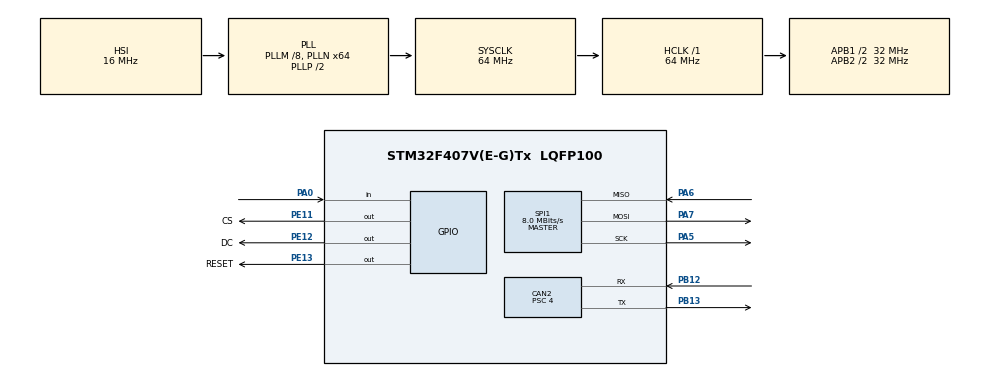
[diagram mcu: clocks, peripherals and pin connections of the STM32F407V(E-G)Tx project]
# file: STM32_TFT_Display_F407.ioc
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CAN2.BS1=CAN_BS1_12TQ
CAN2.BS2=CAN_BS2_3TQ
CAN2.CalculateBaudRate=500000
CAN2.CalculateTimeBit=2000
CAN2.CalculateTimeQuantum=125.0
CAN2.Mode=CAN_MODE_NORMAL
CAN2.Prescaler=4
Dma.Request0=SPI1_TX
Dma.SPI1_TX.0.Direction=DMA_MEMORY_TO_PERIPH
Dma.SPI1_TX.0.FIFOMode=DMA_FIFOMODE_DISABLE
Dma.SPI1_TX.0.Instance=DMA2_Stream3
Dma.SPI1_TX.0.MemDataAlignment=DMA_MDATAALIGN_BYTE
Dma.SPI1_TX.0.MemInc=DMA_MINC_ENABLE
Dma.SPI1_TX.0.Mode=DMA_NORMAL
Dma.SPI1_TX.0.PeriphDataAlignment=DMA_PDATAALIGN_BYTE
Dma.SPI1_TX.0.PeriphInc=DMA_PINC_DISABLE
Dma.SPI1_TX.0.Priority=DMA_PRIORITY_LOW
Mcu.Family=STM32F4
Mcu.Name=STM32F407V(E-G)Tx
Mcu.Package=LQFP100
NVIC.CAN2_RX0_IRQn=true\:0\:0\:false\:false\:true\:true\:true\:true
NVIC.DMA2_Stream3_IRQn=true\:0\:0\:false\:false\:true\:false\:true\:true
NVIC.PriorityGroup=NVIC_PRIORITYGROUP_4
NVIC.SPI1_IRQn=true\:0\:0\:false\:false\:true\:true\:true\:true
PA0-WKUP.GPIO_PuPd=GPIO_NOPULL
PA0-WKUP.Signal=GPIO_Input
PA13.Mode=Serial_Wire
PA13.Signal=SYS_JTMS-SWDIO
PA14.Mode=Serial_Wire
PA14.Signal=SYS_JTCK-SWCLK
PA5.Mode=Full_Duplex_Master
PA5.Signal=SPI1_SCK
PA6.Mode=Full_Duplex_Master
PA6.Signal=SPI1_MISO
PA7.Mode=Full_Duplex_Master
PA7.Signal=SPI1_MOSI
PB12.GPIO_PuPd=GPIO_PULLUP
PB12.Mode=CAN_Activate
PB12.Signal=CAN2_RX
PB13.Mode=CAN_Activate
PB13.Signal=CAN2_TX
PE11.GPIO_Label=CS
PE11.Signal=GPIO_Output
PE12.GPIO_Label=DC
PE12.Signal=GPIO_Output
PE13.GPIO_Label=RESET
PE13.Signal=GPIO_Output
PH0-OSC_IN.Mode=HSE-External-Oscillator
PH0-OSC_IN.Signal=RCC_OSC_IN
PH1-OSC_OUT.Mode=HSE-External-Oscillator
PH1-OSC_OUT.Signal=RCC_OSC_OUT
ProjectManager.HeapSize=0x200
ProjectManager.StackSize=0x400
ProjectManager.TargetToolchain=STM32CubeIDE
RCC.48MHZClocksFreq_Value=32000000
RCC.AHBFreq_Value=64000000
RCC.APB1CLKDivider=RCC_HCLK_DIV2
RCC.APB1Freq_Value=32000000
RCC.APB1TimFreq_Value=64000000
RCC.APB2CLKDivider=RCC_HCLK_DIV2
RCC.APB2Freq_Value=32000000
RCC.APB2TimFreq_Value=64000000
RCC.CortexFreq_Value=64000000
RCC.HCLKFreq_Value=64000000
RCC.HSE_VALUE=25000000
RCC.HSI_VALUE=16000000
RCC.LSE_VALUE=32768
RCC.PLLM=8
RCC.PLLN=64
RCC.RCC_RTC_Clock_SourceVirtual=RCC_RTCCLKSOURCE_HSE_DIV31
RCC.RCC_RTC_Clock_Source_FROM_HSE=RCC_RTCCLKSOURCE_HSE_DIV31
RCC.SYSCLKFreq_VALUE=64000000
RCC.SYSCLKSource=RCC_SYSCLKSOURCE_PLLCLK
RCC.VCOOutputFreq_Value=128000000
SPI1.BaudRatePrescaler=SPI_BAUDRATEPRESCALER_4
SPI1.CalculateBaudRate=8.0 MBits/s
SPI1.Direction=SPI_DIRECTION_2LINES
SPI1.Mode=SPI_MODE_MASTER
SPI1.VirtualType=VM_MASTER
VP_RTC_VS_RTC_Activate.Mode=RTC_Enabled
VP_RTC_VS_RTC_Calendar.Mode=RTC_Calendar
board=custom

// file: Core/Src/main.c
/* USER CODE BEGIN Header */
/**
 ******************************************************************************
 * @file           : main.c
 * @brief          : Main program body
 ******************************************************************************
 * @attention
 *
 * Copyright (c) 2025 STMicroelectronics.
 * All rights reserved.
 *
 * This software is licensed under terms that can be found in the LICENSE file
 * in the root directory of this software component.
 * If no LICENSE file comes with this software, it is provided AS-IS.
 *
 ******************************************************************************
 */
/* USER CODE END Header */
#include "main.h"

/* USER CODE BEGIN Includes */
#include "lvgl.h"
#include "LCDController.h"
#include "demos/benchmark/lv_demo_benchmark.h"
#include "ili9486_lvgl.h"
#include "ui.h"

/* USER CODE END Includes */

CAN_HandleTypeDef hcan2;

RTC_HandleTypeDef hrtc;

SPI_HandleTypeDef hspi1;
DMA_HandleTypeDef hdma_spi1_tx;

/* USER CODE BEGIN PV */
uint8_t RspeedValue = 0;
uint8_t LspeedValue = 0;
uint8_t steeringValue = 0;
uint8_t delayCounter = 0; // To slow down the change in while loop without affecting the renderer
bool toggleSignal = false;

volatile bool new_speed_frame = false;
volatile bool new_steering_frame = false;
volatile bool new_airbag_frame = false;

CAN_TxHeaderTypeDef   TxHeader; /* Header containing the information of the transmitted frame */
CAN_RxHeaderTypeDef   RxHeader; /* Header containing the information of the received frame */
uint8_t               TxData[8] = {0};  /* Buffer of the data to send */
uint8_t               RxData[8]; /* Buffer of the received data */
uint32_t              TxMailbox;  /* The number of the mail box that transmitted the Tx message */

uint8_t               RxSteering = 0; /* Buffer of the received data */
uint32_t id;
uint8_t airbag_state=0;
uint8_t buton =1;
uint8_t pulse;
uint8_t pulse1;

/* USER CODE END PV */

void SystemClock_Config(void);
static void MX_GPIO_Init(void);
static void MX_DMA_Init(void);
static void MX_SPI1_Init(void);
static void MX_RTC_Init(void);
static void MX_CAN2_Init(void);

/* USER CODE BEGIN 0 */
// Display speed value
void update_speed_display(int new_speed) {
	char speed_str[10];
	sprintf(speed_str, "%d Km/h", new_speed); // Format the speed as a string

	if (ui_Speed != NULL) { // Check if the label exists
		lv_label_set_text(ui_Speed, speed_str);
	}
}

void update_speed1_display(int new_speed) {
	char speed_str1[10];
	sprintf(speed_str1, "%d Km/h", new_speed); // Format the speed as a string

	if (ui_Speed1 != NULL) { // Check if the label exists
		lv_label_set_text(ui_Speed1, speed_str1);
	}
}

void update_steering_display(int new_steering) {
	char steering_str[20];
	sprintf(steering_str, "Steering %d %%", new_steering); // Format the speed as a string

	if (ui_SteeringRate != NULL) { // Check if the label exists
		lv_label_set_text(ui_SteeringRate, steering_str);
	}
}

uint8_t update_steering_pulse(int new_steering1) {
	uint8_t steering_str1;
	if(new_steering_frame == true){
	steering_str1 = new_steering1;
	} // Format the speed as a string

	return steering_str1;

}

// Calling ready when the transfer has actually completed
void HAL_SPI_TxCpltCallback(SPI_HandleTypeDef *hspi)
{
  if (hspi->Instance == SPI1) // Check if it's the SPI connected to the display
  {
    lv_disp_drv_t *drv = lv_disp_get_default()->driver;
    if(drv) {
        lv_disp_flush_ready(drv);
    }
  }
}

// Toggle indicator
void toggle_indicator(lv_obj_t *indicator_obj, bool is_active) {
    if (!indicator_obj) {
        return;
    }
     if (is_active) {
         lv_obj_clear_flag(indicator_obj, LV_OBJ_FLAG_HIDDEN); // Make it visible
     } else {
         lv_obj_add_flag(indicator_obj, LV_OBJ_FLAG_HIDDEN);   // Make it hidden
     }
}

uint32_t angle_to_pulse(uint8_t angle) {

   uint8_t angle2 = angle *4096/100;
   return (250 + angle2/4.1);

}

/* USER CODE END 0 */

int main(void)
{

  /* MCU Configuration--------------------------------------------------------*/

  /* Reset of all peripherals, Initializes the Flash interface and the Systick. */
  HAL_Init();

  /* Configure the system clock */
  SystemClock_Config();

  /* Initialize all configured peripherals */
  MX_GPIO_Init();
  MX_DMA_Init();
  MX_SPI1_Init();
  MX_RTC_Init();
  MX_CAN2_Init();
  /* USER CODE BEGIN 2 */
	lv_init();
	lv_port_disp_init();
	ui_init();

	  TxHeader.StdId = 0x123;
	  TxHeader.RTR = CAN_RTR_DATA;
	  TxHeader.IDE = CAN_ID_STD;
	  TxHeader.DLC = 8;
	  TxHeader.TransmitGlobalTime = DISABLE;
	  TxData[0] = 0;
	  TxData[7] = 0xFF;

	  toggle_indicator(ui_Abs, false); //nhap' nhay' Airbag
	  toggle_indicator(ui_Airbag, false);// nhap' nhay' Abs
	  toggle_indicator(ui_SteeringIcon, false);// nhap' nhay' Abs

  /* USER CODE END 2 */

  /* Infinite loop */
  /* USER CODE BEGIN WHILE */
	while (1) {
		lv_timer_handler();
		HAL_Delay(5);
		buton = HAL_GPIO_ReadPin(GPIOA, GPIO_PIN_0);

    /* USER CODE END WHILE */

    /* USER CODE BEGIN 3 */
		delayCounter++;
		if (delayCounter % 10 == 0) {
//
//					if (speedValue == 70) {
//						speedValue = 0;
//					}
//					speedValue++;
					update_speed_display(LspeedValue); //change value of Left speed
					update_speed1_display(RspeedValue); // change value of Right
		}

		update_steering_display(RxSteering); //thay doi gia tri cua banh lai
		lv_arc_set_value(ui_Steering, RxSteering); //thay doi thanh arc cua banh' lai'

		if (buton ==1){
		        	  toggleSignal = false;
		          }

		toggle_indicator(ui_Airbag, toggleSignal );// nhap' nhay' Abs

		if(LspeedValue - RspeedValue > 40 || RspeedValue - LspeedValue > 40){
			toggle_indicator(ui_Abs, true);
		}else
			toggle_indicator(ui_Abs, false);

		if(RxSteering > 80 || RxSteering < 20){
			toggle_indicator(ui_SteeringIcon, true);
		}else
			toggle_indicator(ui_SteeringIcon, false);

//			toggleSignal = !toggleSignal;
//			toggle_indicator(ui_Abs, toggleSignal); //nhap' nhay' Airbag
//
//			toggle_indicator(ui_SteeringIcon, toggleSignal);// nhap' nhay' Abs

//		  TxData[0] ++; /* Increment the first byte */

	      /* It's mandatory to look for a free Tx mail box */
//		  while(HAL_CAN_GetTxMailboxesFreeLevel(&hcan2) == 0); /* Wait till a Tx mailbox is free. Using while loop instead of HAL_Delay() */
//	      if (HAL_CAN_AddTxMessage(&hcan2, &TxHeader, TxData, &TxMailbox) != HAL_OK)
//	      {
//	        /* Transmission request Error */
//	        Error_Handler();
//	      }

	}
  /* USER CODE END 3 */
}

void SystemClock_Config(void)
{
  RCC_OscInitTypeDef RCC_OscInitStruct = {0};
  RCC_ClkInitTypeDef RCC_ClkInitStruct = {0};

  /** Configure the main internal regulator output voltage
  */
  __HAL_RCC_PWR_CLK_ENABLE();
  __HAL_PWR_VOLTAGESCALING_CONFIG(PWR_REGULATOR_VOLTAGE_SCALE1);

  /** Initializes the RCC Oscillators according to the specified parameters
  * in the RCC_OscInitTypeDef structure.
  */
  RCC_OscInitStruct.OscillatorType = RCC_OSCILLATORTYPE_HSI|RCC_OSCILLATORTYPE_HSE;
  RCC_OscInitStruct.HSEState = RCC_HSE_ON;
  RCC_OscInitStruct.HSIState = RCC_HSI_ON;
  RCC_OscInitStruct.HSICalibrationValue = RCC_HSICALIBRATION_DEFAULT;
  RCC_OscInitStruct.PLL.PLLState = RCC_PLL_ON;
  RCC_OscInitStruct.PLL.PLLSource = RCC_PLLSOURCE_HSI;
  RCC_OscInitStruct.PLL.PLLM = 8;
  RCC_OscInitStruct.PLL.PLLN = 64;
  RCC_OscInitStruct.PLL.PLLP = RCC_PLLP_DIV2;
  RCC_OscInitStruct.PLL.PLLQ = 4;
  if (HAL_RCC_OscConfig(&RCC_OscInitStruct) != HAL_OK)
  {
    Error_Handler();
  }

  /** Initializes the CPU, AHB and APB buses clocks
  */
  RCC_ClkInitStruct.ClockType = RCC_CLOCKTYPE_HCLK|RCC_CLOCKTYPE_SYSCLK
                              |RCC_CLOCKTYPE_PCLK1|RCC_CLOCKTYPE_PCLK2;
  RCC_ClkInitStruct.SYSCLKSource = RCC_SYSCLKSOURCE_PLLCLK;
  RCC_ClkInitStruct.AHBCLKDivider = RCC_SYSCLK_DIV1;
  RCC_ClkInitStruct.APB1CLKDivider = RCC_HCLK_DIV2;
  RCC_ClkInitStruct.APB2CLKDivider = RCC_HCLK_DIV2;

  if (HAL_RCC_ClockConfig(&RCC_ClkInitStruct, FLASH_LATENCY_2) != HAL_OK)
  {
    Error_Handler();
  }
}

static void MX_CAN2_Init(void)
{

  /* USER CODE BEGIN CAN2_Init 0 */
	CAN_FilterTypeDef  sFilterConfig;

  /* USER CODE END CAN2_Init 0 */

  hcan2.Instance = CAN2;
  hcan2.Init.Prescaler = 4;
  hcan2.Init.Mode = CAN_MODE_NORMAL;
  hcan2.Init.SyncJumpWidth = CAN_SJW_1TQ;
  hcan2.Init.TimeSeg1 = CAN_BS1_12TQ;
  hcan2.Init.TimeSeg2 = CAN_BS2_3TQ;
  hcan2.Init.TimeTriggeredMode = DISABLE;
  hcan2.Init.AutoBusOff = DISABLE;
  hcan2.Init.AutoWakeUp = DISABLE;
  hcan2.Init.AutoRetransmission = DISABLE;
  hcan2.Init.ReceiveFifoLocked = DISABLE;
  hcan2.Init.TransmitFifoPriority = DISABLE;
  if (HAL_CAN_Init(&hcan2) != HAL_OK)
  {
    Error_Handler();
  }
  /* USER CODE BEGIN CAN2_Init 2 */
  /* The CAN filter configuration */
    sFilterConfig.FilterBank = 14;
    sFilterConfig.FilterMode = CAN_FILTERMODE_IDMASK;
    sFilterConfig.FilterScale = CAN_FILTERSCALE_32BIT;
    sFilterConfig.FilterIdHigh = 0x0000;
    sFilterConfig.FilterIdLow = 0x0000;
    sFilterConfig.FilterMaskIdHigh = 0x0000;
    sFilterConfig.FilterMaskIdLow = 0x0000;
    sFilterConfig.FilterFIFOAssignment = CAN_RX_FIFO0; /* The data will be received in FIFO0 */
    sFilterConfig.FilterActivation = ENABLE;
    sFilterConfig.SlaveStartFilterBank = 14;
    if (HAL_CAN_ConfigFilter(&hcan2, &sFilterConfig) != HAL_OK)
    {
      /* Filter configuration Error */
      Error_Handler();
    }
   /* Starting the CAN peripheral */
    if (HAL_CAN_Start(&hcan2) != HAL_OK)
    {
      /* Start Error */
      Error_Handler();
    }
   /* Activate CAN RX notification on FIFO0 */
    if (HAL_CAN_ActivateNotification(&hcan2, CAN_IT_RX_FIFO0_MSG_PENDING) != HAL_OK)
    {
      /* Notification Error */
      Error_Handler();
    }
  /* USER CODE END CAN2_Init 2 */

}

static void MX_RTC_Init(void)
{

  RTC_TimeTypeDef sTime = {0};
  RTC_DateTypeDef sDate = {0};

  /** Initialize RTC Only
  */
  hrtc.Instance = RTC;
  hrtc.Init.HourFormat = RTC_HOURFORMAT_24;
  hrtc.Init.AsynchPrediv = 127;
  hrtc.Init.SynchPrediv = 255;
  hrtc.Init.OutPut = RTC_OUTPUT_DISABLE;
  hrtc.Init.OutPutPolarity = RTC_OUTPUT_POLARITY_HIGH;
  hrtc.Init.OutPutType = RTC_OUTPUT_TYPE_OPENDRAIN;
  if (HAL_RTC_Init(&hrtc) != HAL_OK)
  {
    Error_Handler();
  }

  /** Initialize RTC and set the Time and Date
  */
  sTime.Hours = 0x0;
  sTime.Minutes = 0x0;
  sTime.Seconds = 0x0;
  sTime.DayLightSaving = RTC_DAYLIGHTSAVING_NONE;
  sTime.StoreOperation = RTC_STOREOPERATION_RESET;
  if (HAL_RTC_SetTime(&hrtc, &sTime, RTC_FORMAT_BCD) != HAL_OK)
  {
    Error_Handler();
  }
  sDate.WeekDay = RTC_WEEKDAY_MONDAY;
  sDate.Month = RTC_MONTH_JANUARY;
  sDate.Date = 0x1;
  sDate.Year = 0x0;

  if (HAL_RTC_SetDate(&hrtc, &sDate, RTC_FORMAT_BCD) != HAL_OK)
  {
    Error_Handler();
  }

}

static void MX_SPI1_Init(void)
{

  /* SPI1 parameter configuration*/
  hspi1.Instance = SPI1;
  hspi1.Init.Mode = SPI_MODE_MASTER;
  hspi1.Init.Direction = SPI_DIRECTION_2LINES;
  hspi1.Init.DataSize = SPI_DATASIZE_8BIT;
  hspi1.Init.CLKPolarity = SPI_POLARITY_LOW;
  hspi1.Init.CLKPhase = SPI_PHASE_1EDGE;
  hspi1.Init.NSS = SPI_NSS_SOFT;
  hspi1.Init.BaudRatePrescaler = SPI_BAUDRATEPRESCALER_4;
  hspi1.Init.FirstBit = SPI_FIRSTBIT_MSB;
  hspi1.Init.TIMode = SPI_TIMODE_DISABLE;
  hspi1.Init.CRCCalculation = SPI_CRCCALCULATION_DISABLE;
  hspi1.Init.CRCPolynomial = 10;
  if (HAL_SPI_Init(&hspi1) != HAL_OK)
  {
    Error_Handler();
  }

}

static void MX_DMA_Init(void)
{

  /* DMA controller clock enable */
  __HAL_RCC_DMA2_CLK_ENABLE();

  /* DMA interrupt init */
  /* DMA2_Stream3_IRQn interrupt configuration */
  HAL_NVIC_SetPriority(DMA2_Stream3_IRQn, 0, 0);
  HAL_NVIC_EnableIRQ(DMA2_Stream3_IRQn);

}

static void MX_GPIO_Init(void)
{
  GPIO_InitTypeDef GPIO_InitStruct = {0};

  /* GPIO Ports Clock Enable */
  __HAL_RCC_GPIOH_CLK_ENABLE();
  __HAL_RCC_GPIOA_CLK_ENABLE();
  __HAL_RCC_GPIOE_CLK_ENABLE();
  __HAL_RCC_GPIOB_CLK_ENABLE();

  /*Configure GPIO pin Output Level */
  HAL_GPIO_WritePin(GPIOE, CS_Pin|DC_Pin|RESET_Pin, GPIO_PIN_RESET);

  /*Configure GPIO pin : PA0 */
  GPIO_InitStruct.Pin = GPIO_PIN_0;
  GPIO_InitStruct.Mode = GPIO_MODE_INPUT;
  GPIO_InitStruct.Pull = GPIO_NOPULL;
  HAL_GPIO_Init(GPIOA, &GPIO_InitStruct);

  /*Configure GPIO pins : CS_Pin DC_Pin RESET_Pin */
  GPIO_InitStruct.Pin = CS_Pin|DC_Pin|RESET_Pin;
  GPIO_InitStruct.Mode = GPIO_MODE_OUTPUT_PP;
  GPIO_InitStruct.Pull = GPIO_NOPULL;
  GPIO_InitStruct.Speed = GPIO_SPEED_FREQ_LOW;
  HAL_GPIO_Init(GPIOE, &GPIO_InitStruct);

}

/* USER CODE BEGIN 4 */
void HAL_CAN_RxFifo0MsgPendingCallback(CAN_HandleTypeDef *CanHandle)
{
  /* Get RX message */
  if (HAL_CAN_GetRxMessage(CanHandle, CAN_RX_FIFO0, &RxHeader, RxData) != HAL_OK)
  {
    /* Reception Error */
    Error_Handler();
  }
  id = RxHeader.StdId;
  // 2) Phân ID
  switch (id) {
    case 0x040: {
      // ========== Abs ==========
      LspeedValue =RxData[0];
      RspeedValue = RxData[1];
      new_speed_frame = true;
      break;
    }

    case 0x012: {
          // ========== Airbag ==========
          if(RxData[0] == 1){
        	  toggleSignal = true;

          }
          new_airbag_frame = true;

          break;
        }

    case 0x050: {
              // ========== Steering ==========
              RxSteering = RxData[0] * 100 / 80;
              pulse =  (250 + (RxData[0] *4096/100)/4.1);
              new_steering_frame = true;

              break;
            }

    default:
      // Bỏ qua các ID khác
      break;
  }
}

/* USER CODE END 4 */

void Error_Handler(void)
{
	__disable_irq();
	while (1) {
	}
}
